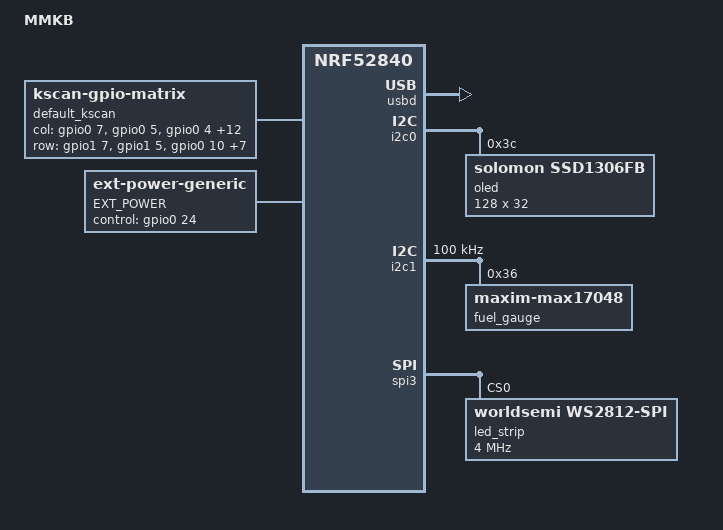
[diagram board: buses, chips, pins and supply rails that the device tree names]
/*
 * copyright (c) 2024 ZMK project contributors
 *
 * SPDX-license-identifier: MIT
 */

/dts-v1/;
#include <nordic/nrf52840_qiaa.dtsi>

#include <dt-bindings/led/led.h>
#include <dt-bindings/zmk/matrix_transform.h>

#include "mmkb-pinctrl.dtsi"

/ {
    model = "MMKB";
    compatible = "mmkb";

    chosen {
        zephyr,code-partition = &code_partition;
        zephyr,sram = &sram0;
        zephyr,flash = &flash0;
        zephyr,display = &oled;
        zmk,kscan = &kscan0;
        zmk,underglow = &led_strip;
        zmk,battery = &fuel_gauge;
        zephyr,console = &cdc_acm_uart;
    };

    sensors: sensors {
        compatible = "zmk,keymap-sensors";
        sensors = <&encoder_0 &encoder_1 &encoder_2 &encoder_3 &encoder_4 &encoder_5>;
        triggers-per-rotation = <20>;
    };

    kscan0: kscan {
        compatible = "zmk,kscan-gpio-matrix";
        label = "default_kscan";
        diode-direction = "col2row";
        wakeup-source;

        col-gpios = <&gpio0 7  GPIO_ACTIVE_HIGH>,
                    <&gpio0 5  GPIO_ACTIVE_HIGH>,
                    <&gpio0 4  GPIO_ACTIVE_HIGH>,
                    <&gpio0 31 GPIO_ACTIVE_HIGH>,
                    <&gpio0 30 GPIO_ACTIVE_HIGH>,
                    <&gpio0 29 GPIO_ACTIVE_HIGH>,
                    <&gpio0 28 GPIO_ACTIVE_HIGH>,
                    <&gpio0 2  GPIO_ACTIVE_HIGH>,
                    <&gpio0 3  GPIO_ACTIVE_HIGH>,
                    <&gpio1 15 GPIO_ACTIVE_HIGH>,
                    <&gpio1 13 GPIO_ACTIVE_HIGH>,
                    <&gpio1 10 GPIO_ACTIVE_HIGH>,
                    <&gpio1 11 GPIO_ACTIVE_HIGH>,
                    <&gpio1 12 GPIO_ACTIVE_HIGH>,
                    <&gpio1 14 GPIO_ACTIVE_HIGH>;

        row-gpios = <&gpio1 7  (GPIO_ACTIVE_HIGH | GPIO_PULL_DOWN)>,
                    <&gpio1 5  (GPIO_ACTIVE_HIGH | GPIO_PULL_DOWN)>,
                    <&gpio0 10 (GPIO_ACTIVE_HIGH | GPIO_PULL_DOWN)>,
                    <&gpio0 9  (GPIO_ACTIVE_HIGH | GPIO_PULL_DOWN)>,
                    <&gpio1 6  (GPIO_ACTIVE_HIGH | GPIO_PULL_DOWN)>,
                    <&gpio1 4  (GPIO_ACTIVE_HIGH | GPIO_PULL_DOWN)>,
                    <&gpio1 2  (GPIO_ACTIVE_HIGH | GPIO_PULL_DOWN)>,
                    <&gpio1 1  (GPIO_ACTIVE_HIGH | GPIO_PULL_DOWN)>,
                    <&gpio1 3  (GPIO_ACTIVE_HIGH | GPIO_PULL_DOWN)>,
                    <&gpio1 0  (GPIO_ACTIVE_HIGH | GPIO_PULL_DOWN)>;
    };

    encoder_0: &qdec0 {
        status = "okay";
        led-pre = <0>;
        steps = <80>;
        pinctrl-0 = <&qdec_0>;
        pinctrl-names = "default";
    };

    encoder_1: &qdec1 {
        status = "okay";
        led-pre = <0>;
        steps = <80>;
        pinctrl-0 = <&qdec_1>;
        pinctrl-names = "default";
    };

    encoder_2: &qdec2 {
        status = "okay";
        led-pre = <0>;
        steps = <80>;
        pinctrl-0 = <&qdec_2>;
        pinctrl-names = "default";
    };

    encoder_3: &qdec3 {
        status = "okay";
        led-pre = <0>;
        steps = <80>;
        pinctrl-0 = <&qdec_3>;
        pinctrl-names = "default";
    };

    encoder_4: &qdec4 {
        status = "okay";
        led-pre = <0>;
        steps = <80>;
        pinctrl-0 = <&qdec_4>;
        pinctrl-names = "default";
    };

    encoder_5: &qdec5 {
        status = "okay";
        led-pre = <0>;
        steps = <80>;
        pinctrl-0 = <&qdec_5>;
        pinctrl-names = "default";
    };

    EXT_POWER {
        compatible = "zmk,ext-power-generic";
        control-gpios = <&gpio0 24 GPIO_ACTIVE_HIGH>;
    };
};

&gpiote {
    status = "okay";
};

&gpio0 {
    status = "okay";
};

&gpio1 {
    status = "okay";
};

&usbd {
    status = "okay";
};

&flash0 {
    /*
     * For more information, see:
     * http://docs.zephyrproject.org/latest/devices/dts/flash_partitions.html
     */
    partitions {
        compatible = "fixed-partitions";
        #address-cells = <1>;
        #size-cells = <1>;

        sd_partition: partition@0 {
            reg = <0x00000000 0x00026000>;
        };
        code_partition: partition@26000 {
            reg = <0x00026000 0x000c6000>;
        };

        /*
         * The flash starting at 0x000ec000 and ending at
         * 0x000f3fff is reserved for use by the application.
         */

        /*
         * Storage partition will be used by FCB/LittleFS/NVS
         * if enabled.
         */
        storage_partition: partition@ec000 {
            reg = <0x000ec000 0x00008000>;
        };

        boot_partition: partition@f4000 {
            reg = <0x000f4000 0x0000c000>;
        };
    };
};

&i2c0 {
    status = "okay";
    compatible = "nordic,nrf-twi";
    pinctrl-0 = <&i2c0_default>;
    pinctrl-1 = <&i2c0_sleep>;
    pinctrl-names = "default", "sleep";

    oled: ssd1306@3c {
        compatible = "solomon,ssd1306fb";
        reg = <0x3c>;
        width = <128>;
        height = <32>;
        segment-offset = <0>;
        page-offset = <0>;
        display-offset = <0>;
        multiplex-ratio = <31>;
        segment-remap;
        com-invdir;
        com-sequential;
        inversion-on;
        prechargep = <0x22>;
    };
};

&i2c1 {
    status = "okay";
    compatible = "nordic,nrf-twim";
    pinctrl-0 = <&i2c1_default>;
    pinctrl-1 = <&i2c1_sleep>;
    pinctrl-names = "default", "sleep";
    clock-frequency = <100000>;

    fuel_gauge: max17048@36 {
        compatible = "zmk,maxim-max17048";
		reg = <0x36>;
    };
};

&spi3 {
  compatible = "nordic,nrf-spim";
  status = "okay";
  pinctrl-0 = <&spi3_default>;
  pinctrl-1 = <&spi3_sleep>;
  pinctrl-names = "default", "sleep";

  led_strip: ws2812@0 {
    compatible = "worldsemi,ws2812-spi";

    /* SPI */
    reg = <0>; /* ignored, but necessary for SPI bindings */
    spi-max-frequency = <4000000>;

    /* WS2812 */
    chain-length = <20>; /* number of LEDs */
    spi-one-frame = <0x70>;
    spi-zero-frame = <0x40>;
    color-mapping = <LED_COLOR_ID_GREEN LED_COLOR_ID_RED LED_COLOR_ID_BLUE>;
  };
};

&usbd {
    status = "okay";
    cdc_acm_uart: cdc_acm_uart {
        compatible = "zephyr,cdc-acm-uart";
    };
};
